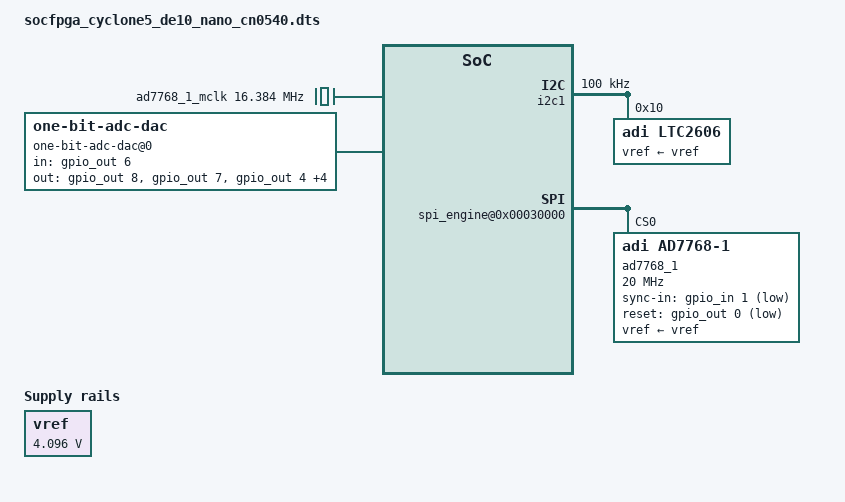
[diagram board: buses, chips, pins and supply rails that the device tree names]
// SPDX-License-Identifier: (GPL-2.0-only OR BSD-3-Clause)
/*
 * Analog Devices CN0540
 * https://www.analog.com/en/design-center/reference-designs/circuits-from-the-lab/cn0540.html
 * https://www.analog.com/en/products/ad7768-1.html
 * https://wiki.analog.com/resources/tools-software/linux-build/generic/socfpga
 *
 * hdl_project: <cn0540/de10nano>
 * board_revision: <A>
 *
 * Copyright (C) 2020 Analog Devices Inc.
 */
/dts-v1/;
#include "socfpga_cyclone5_de10_nano.dtsi"
#include <dt-bindings/interrupt-controller/irq.h>
#include <dt-bindings/gpio/gpio.h>


/ {
	vref: regulator-vref {
		compatible = "regulator-fixed";
		regulator-name = "fixed-supply";
		regulator-min-microvolt = <4096000>;
		regulator-max-microvolt = <4096000>;
		regulator-always-on;
	};

	clocks {
		ad7768_1_mclk: clock@0 {
			#clock-cells = <0>;
			compatible = "fixed-clock";
			clock-frequency = <16384000>;
		};
	};

	one-bit-adc-dac@0 {
		compatible = "one-bit-adc-dac";
		#address-cells = <1>;
		#size-cells = <0>;
		in-gpios = <&gpio_out 6 GPIO_ACTIVE_HIGH>;
		out-gpios = <&gpio_out 8 GPIO_ACTIVE_HIGH>,
			    <&gpio_out 7 GPIO_ACTIVE_HIGH>,
			    <&gpio_out 4 GPIO_ACTIVE_HIGH>,
			    <&ad7768_1 0 GPIO_ACTIVE_HIGH>,
			    <&ad7768_1 1 GPIO_ACTIVE_HIGH>,
			    <&ad7768_1 2 GPIO_ACTIVE_HIGH>,
			    <&ad7768_1 3 GPIO_ACTIVE_HIGH>;
		channel@0 {
			reg = <0>;
			label = "cn0540_sw_ff_gpio";
		};
		channel@1 {
			reg = <1>;
			label = "cn0540_blue_led";
		};
		channel@2 {
			reg = <2>;
			label = "cn0540_red_led";
		};
		channel@3 {
			reg = <3>;
			label = "cn0540_shutdown_gpio";
		};
		channel@4 {
			reg = <4>;
			label = "cn0540_ad7768-1-gpio0";
		};
		channel@5 {
			reg = <5>;
			label = "cn0540_ad7768-1-gpio1";
		};
		channel@6 {
			reg = <6>;
			label = "cn0540_FDA_DIS";
		};
		channel@7 {
			reg = <7>;
			label = "cn0540_FDA_MODE";
		};
	};
};
&i2c1 {
	status = "okay";
	clock-frequency = <100000>;
	ltc2606: ltc2606@0 {
		compatible = "adi,ltc2606";
		reg = <0x10>;
		vref-supply = <&vref>;
	};
};

&fpga_axi {

	axi_dmac_0: rx-dma@0x00020000 {
		compatible = "adi,axi-dmac-1.00.a";
		reg = <0x00020000 0x00000800>;
		interrupt-parent = <&intc>;
		interrupts = <0 44 IRQ_TYPE_LEVEL_HIGH>;
		#dma-cells = <1>;
		clocks = <&h2f_user0_clk>;

		adi,channels {
			#size-cells = <0>;
			#address-cells = <1>;

			dma-channel@0 {
				reg = <0>;
				adi,source-bus-width = <32>;
				adi,source-bus-type = <1>;
				adi,destination-bus-width = <64>;
				adi,destination-bus-type = <0>;
			};
		};
	};

	spi_engine@0x00030000 {
		compatible = "adi,axi-spi-engine-1.00.a";
		reg = <0x00030000 0x00010000>;
		interrupt-parent = <&intc>;
		interrupts = <0 45 IRQ_TYPE_LEVEL_HIGH>;
		clocks = <&sys_clk &h2f_user0_clk>;
		clock-names = "s_axi_aclk", "spi_clk";
		num-cs = <1>;

		#address-cells = <0x1>;
		#size-cells = <0x0>;

		ad7768_1: adc@0x0 {
			compatible = "adi,ad7768-1";
			reg = <0>;
			spi-max-frequency = <20000000>;
			spi-cpol;
			spi-cpha;
			#gpio-cells = <2>;
			gpio-controller;
			vref-supply = <&vref>;
			adi,sync-in-gpios = <&gpio_in 1 GPIO_ACTIVE_LOW>;
			reset-gpios = <&gpio_out 0 GPIO_ACTIVE_LOW>;
			clocks = <&ad7768_1_mclk>;
			clock-names = "mclk";
			dmas = <&axi_dmac_0 0>;
			dma-names = "rx";
			#io-channel-cells = <1>;
		};
	};
};
